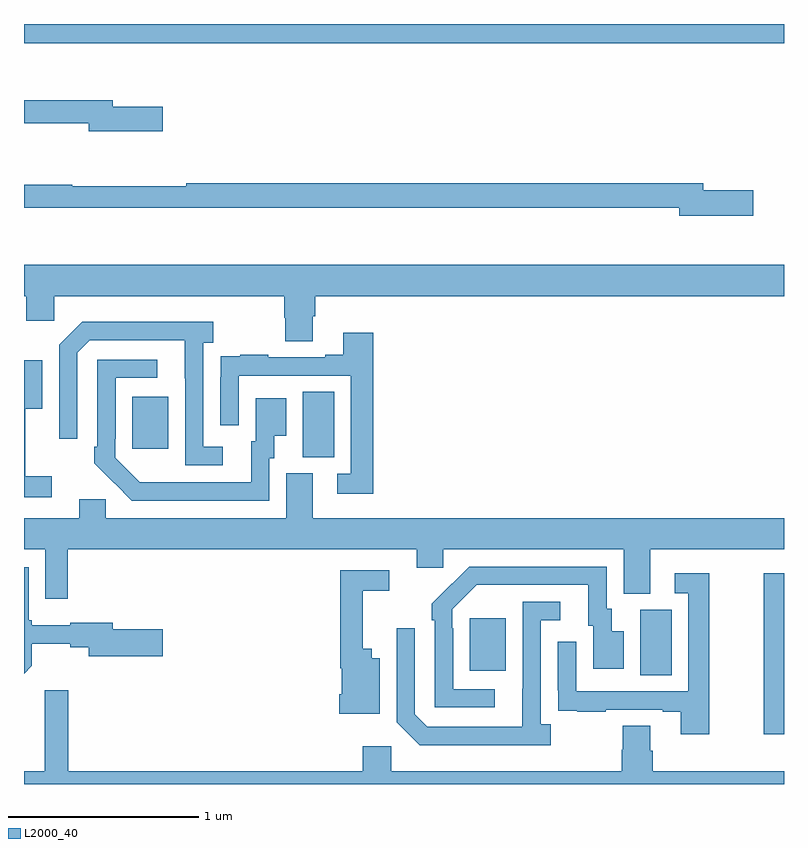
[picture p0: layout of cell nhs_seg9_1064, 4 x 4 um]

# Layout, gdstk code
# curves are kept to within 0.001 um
import gdstk
lib = gdstk.Library(unit=1e-6, precision=1e-09)
def R(c, l, rs):  # rectangles x0, y0, x1, y1
    for r in rs: c.add(gdstk.rectangle(r[:2], r[2:], *l))
def P(c, l, *ps):  # polygons
    for p in ps: c.add(gdstk.Polygon(p, *l))
L2000_40 = (2000, 40)

nhs_seg9_1064 = lib.new_cell('nhs_seg9_1064')
R(nhs_seg9_1064, L2000_40, [(172.893,1212.762,173,1213.609), (172.244,1213.072,172.408,1213.416), (171.347,1213.097,171.535,1213.372), (170.468,1214.221,170.632,1214.564), (169.571,1214.265,169.759,1214.539), (169,1216.4,173,1216.5)])
P(nhs_seg9_1064, L2000_40, [(169.729,1216.065),(169.468,1216.065),(169.468,1216.099),(169,1216.099),(169,1215.978),(169.34,1215.978),(169.34,1215.935),(169.729,1215.935)],
  [(172.837,1215.626),(172.576,1215.626),(172.576,1215.662),(169.853,1215.662),(169.853,1215.647),(169.253,1215.647),(169.253,1215.655),(169,1215.655),(169,1215.534),(172.448,1215.534),(172.448,1215.491),(172.837,1215.491)],
  [(170.521,1214.962),(170.534,1214.962),(170.534,1215.068),(173,1215.068),(173,1215.232),(169,1215.232),(169,1215.068),(169.012,1215.068),(169.012,1214.937),(169.158,1214.937),(169.158,1215.068),(170.369,1215.068),(170.369,1214.955),(170.374,1214.955),(170.374,1214.83),(170.521,1214.83)],
  [(170.047,1214.274),(169.944,1214.274),(169.944,1214.822),(169.996,1214.822),(169.996,1214.932),(169.306,1214.932),(169.185,1214.811),(169.185,1214.316),(169.281,1214.316),(169.281,1214.769),(169.347,1214.835),(169.847,1214.835),(169.848,1214.178),(170.047,1214.178)],
  [(170.837,1214.875),(170.681,1214.875),(170.681,1214.758),(170.585,1214.758),(170.585,1214.745),(170.285,1214.745),(170.285,1214.758),(170.137,1214.758),(170.137,1214.751),(170.035,1214.751),(170.035,1214.642),(170.034,1214.642),(170.034,1214.388),(170.13,1214.388),(170.13,1214.649),(170.721,1214.649),(170.721,1214.133),(170.649,1214.133),(170.649,1214.028),(170.837,1214.028)],
  [(170.292,1214.214),(170.317,1214.214),(170.317,1214.333),(170.38,1214.333),(170.38,1214.53),(170.219,1214.53),(170.219,1214.304),(170.195,1214.304),(170.195,1214.088),(169.608,1214.089),(169.479,1214.217),(169.479,1214.317),(169.482,1214.317),(169.482,1214.637),(169.702,1214.637),(169.702,1214.733),(169.386,1214.733),(169.386,1214.275),(169.371,1214.275),(169.371,1214.187),(169.568,1213.992),(170.292,1213.992)],
  [(169.147,1214.119),(169.007,1214.119),(169.007,1214.474),(169.096,1214.474),(169.096,1214.731),(169,1214.731),(169,1214.01),(169.147,1214.01)],
  [(169.229,1213.736),(171.068,1213.736),(171.068,1213.638),(171.207,1213.638),(171.207,1213.736),(172.157,1213.736),(172.157,1213.501),(172.297,1213.501),(172.297,1213.736),(173,1213.736),(173,1213.9),(170.521,1213.9),(170.521,1214.136),(170.381,1214.136),(170.381,1213.9),(169.431,1213.9),(169.431,1213.998),(169.292,1213.998),(169.292,1213.9),(169,1213.9),(169,1213.736),(169.113,1213.736),(169.113,1213.476),(169.229,1213.476)],
  [(171.478,1212.999),(171.258,1212.999),(171.258,1213.319),(171.255,1213.319),(171.255,1213.419),(171.384,1213.548),(171.971,1213.548),(171.971,1213.332),(171.995,1213.332),(171.995,1213.107),(172.156,1213.107),(172.156,1213.303),(172.093,1213.303),(172.093,1213.422),(172.068,1213.422),(172.068,1213.644),(171.344,1213.644),(171.147,1213.449),(171.147,1213.361),(171.162,1213.361),(171.162,1212.903),(171.478,1212.903)],
  [(169.042,1213.122),(169.042,1213.237),(169.244,1213.237),(169.244,1213.219),(169.34,1213.219),(169.34,1213.172),(169.729,1213.172),(169.729,1213.314),(169.468,1213.314),(169.468,1213.348),(169.244,1213.348),(169.244,1213.336),(169.042,1213.336),(169.042,1213.362),(169.024,1213.362),(169.024,1213.642),(169,1213.642),(169,1213.08)],
  [(170.872,1213.162),(170.83,1213.162),(170.83,1213.213),(170.783,1213.213),(170.783,1213.518),(170.923,1213.518),(170.923,1213.626),(170.665,1213.626),(170.665,1213.109),(170.672,1213.109),(170.672,1212.973),(170.66,1212.973),(170.66,1212.869),(170.872,1212.869)],
  [(172.606,1213.609),(172.425,1213.609),(172.425,1213.503),(172.497,1213.503),(172.497,1212.987),(171.906,1212.987),(171.906,1213.249),(171.81,1213.249),(171.81,1212.994),(171.811,1212.994),(171.811,1212.885),(171.913,1212.885),(171.913,1212.879),(172.061,1212.879),(172.061,1212.891),(172.361,1212.891),(172.361,1212.879),(172.457,1212.879),(172.457,1212.762),(172.606,1212.762)],
  [(171.772,1212.814),(171.72,1212.814),(171.72,1213.362),(171.823,1213.362),(171.823,1213.458),(171.624,1213.458),(171.623,1212.801),(171.123,1212.801),(171.057,1212.867),(171.057,1213.321),(170.961,1213.321),(170.961,1212.825),(171.082,1212.704),(171.772,1212.704)],
  [(173,1212.568),(172.31,1212.568),(172.31,1212.674),(172.297,1212.674),(172.297,1212.806),(172.15,1212.806),(172.15,1212.681),(172.145,1212.681),(172.145,1212.568),(170.934,1212.568),(170.934,1212.7),(170.783,1212.7),(170.783,1212.568),(169.232,1212.568),(169.232,1212.994),(169.109,1212.994),(169.109,1212.568),(169,1212.568),(169,1212.5),(173,1212.5)])

lib.write_gds('nhs_seg9_1064.gds')
